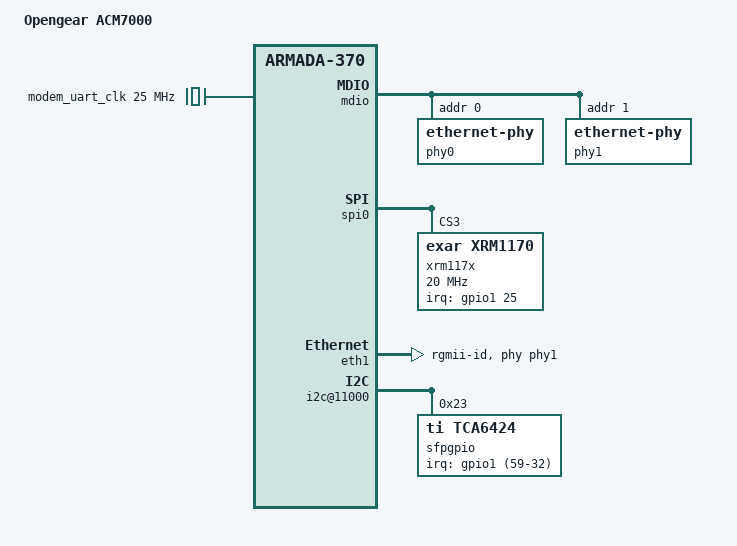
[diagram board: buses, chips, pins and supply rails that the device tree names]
/*
 * Device Tree file for Opengear ACM7000
 *
 * Ken Wilson <ken.wilson@opengear.com>
 *
 * This file is licensed under the terms of the GNU General Public
 * License version 2.  This program is licensed "as is" without any
 * warranty of any kind, whether express or implied.
 */
 /dts-v1/;
 /include/ "armada-370-acm7000.dtsi"

 / {
	model = "Opengear ACM7000"; /* 309047 */
	compatible = "opengear,cm7000", "marvell,armada370", "marvell,armada-370-xp";
	
	modem_uart_clk: oscillator {
		compatible = "fixed-clock";
		#clock-cells = <1>;
		clock-frequency = <25000000>;
		clock-output-names = "uart_clk";
	};
	
	soc {
		internal-regs {

			pinctrl {

				uart_int: uart-int {
					marvell,pins = "mpp57";
					marvell,function = "gpio";
				};
			};

			mdio {	
				phy0: ethernet-phy@0 {
					reg = <0>;
				};

				phy1: ethernet-phy@1 {
					reg = <1>;
				};
			};
			
			spi0: spi@10600 {
				xrm117x: xrm117x@3 {
					pinctrl-0 = <&uart_int>;
					pinctrl-names = "default";
					compatible = "exar,xrm1170";
					reg = <3>;
					clocks = <&modem_uart_clk 0>;
					clock-names = "uart_clk";
					spi-max-frequency = <20000000>;
					interrupt-parent = <&gpio1>;
					interrupts = <25 0x2>;
				};
			};

			eth1: ethernet@74000 {
				status = "okay";
				phy = <&phy1>;
				phy-mode = "rgmii-id";
				pinctrl-0 = <&ge1_pins>;
				pinctrl-names = "default";
			};

			/* SFP option board 309049 */
			i2c@11000 {
				sfpgpio: gpio@23 {
					compatible = "ti,tca6424";
					reg = <0x23>;
					gpio-controller;
					#gpio-cells = <2>;
					interrupt-parent = <&gpio1>;
					interrupts = <(59-32) 0x2>;
				};
			};
			sfp@0 {
				compatible = "sff,sfp";
				i2c-bus = <&i2c0>;
				sfp,ethernet = <&eth0>;
				//tx-fault-gpio = <&sfpgpio 0 GPIO_ACTIVE_HIGH>;
				//tx-disable-gpio = <&sfpgpio 1 GPIO_ACTIVE_HIGH>;
				//mod-pres-gpio = <&sfpgpio 2 GPIO_ACTIVE_HIGH>;
				//rate-select-gpio = <&sfpgpio 3 GPIO_ACTIVE_HIGH>;
				//los-gpio = <&sfpgpio 4 GPIO_ACTIVE_HIGH>;
			};
			sfp@1 {
				compatible = "sff,sfp";
				i2c-bus = <&i2c0>;
				sfp,ethernet = <&eth1>;
				//tx-fault-gpio = <&sfpgpio 8 GPIO_ACTIVE_HIGH>;
				//tx-disable-gpio = <&sfpgpio 9 GPIO_ACTIVE_HIGH>;
				//mod-pres-gpio = <&sfpgpio 10 GPIO_ACTIVE_HIGH>;
				//rate-select-gpio = <&sfpgpio 11 GPIO_ACTIVE_HIGH>;
				//los-gpio = <&sfpgpio 12 GPIO_ACTIVE_HIGH>;
			};

		};
	};
 };


